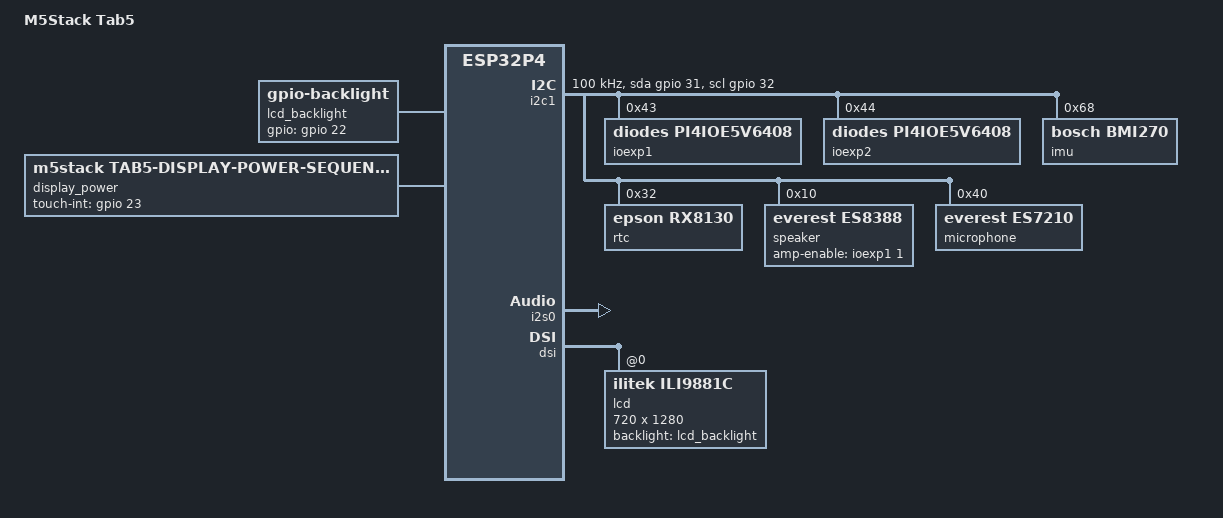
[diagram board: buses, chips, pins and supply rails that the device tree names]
/*
 * M5Stack Tab5 (ESP32-P4 rev v1.0, 5" 720x1280 MIPI-DSI LCD).
 * Sources: https://docs.m5stack.com/en/core/Tab5 ,
 *          tab5-os doc/06-tab5-hardware.md and kernel/src/platform/esp32p4v1/tab5.rs
 *          (bring-up verified on this board), M5GFX (MIT).
 *
 * Panel lots: ILI9881C + GT911 touch (this unit). The ST7123 / ST7121 lots
 * (display and touch in one chip at 0x55) are not supported yet; the power
 * sequence reports them as InitError::UnsupportedPanel.
 */
/dts-v1/;

#include <soc/espressif/esp32p4v1.dtsi>
#include <kumiki/gpio.h>

/ {
	model = "M5Stack Tab5";
	compatible = "m5stack,tab5", "espressif,esp32p4";

	chosen {
		kumiki,display = &lcd;
		kumiki,touch = &touch_gt911_14, &touch_gt911_5d;
		kumiki,imu = &imu;
		kumiki,rtc = &rtc;
		kumiki,speaker = &speaker;
		kumiki,microphone = &microphone;
	};

	lcd_backlight: backlight {
		compatible = "gpio-backlight";
		gpios = <&gpio 22 GPIO_ACTIVE_HIGH>;
		default-on;
	};

	/* No front buttons: a touch acts as button A. */
	buttons {
		compatible = "kumiki,touch-keys";
		touch = <&touch_gt911_14>;
	};

	/* Glue: the IO-expander sequence that releases the LCD and touch resets,
	 * tells the panel lot by its touch controller and synchronises the
	 * GT911's INT line (port of tab5-os tab5.rs::init). */
	display_power: display-power-sequence {
		compatible = "m5stack,tab5-display-power-sequence";
		io-expander = <&ioexp1>;
		touch-int-gpios = <&gpio 23 GPIO_ACTIVE_HIGH>;
	};

	kumiki,detect {
		compatible = "kumiki,board-detect";
		ioexp-ack {
			compatible = "kumiki,probe-i2c-ack";
			device = <&ioexp1>;
			register = <0x01>;
		};
	};
};

&i2c1 {
	status = "okay";
	clock-frequency = <100000>;
	sda-gpios = <&gpio 31 GPIO_ACTIVE_HIGH>;
	scl-gpios = <&gpio 32 GPIO_ACTIVE_HIGH>;

	/* Expander #1: EXT5V_EN, CAM_RST, LCD_RST (bit 4), TP_RST (bit 5), SPK_EN, HP_DET. */
	ioexp1: gpio@43 {
		compatible = "diodes,pi4ioe5v6408";
		reg = <0x43>;
		gpio-controller;
		#gpio-cells = <2>;
	};

	/* Expander #2: bit 4 cuts the board's power. Never written. */
	ioexp2: gpio@44 {
		compatible = "diodes,pi4ioe5v6408";
		reg = <0x44>;
		gpio-controller;
		#gpio-cells = <2>;
	};

	/* The GT911's address follows INT at reset: second-source candidates. */
	touch_gt911_14: touchscreen@14 {
		compatible = "goodix,gt911";
		reg = <0x14>;
		status = "fail-needs-probe";
		kumiki,probe-group = "touch";
		kumiki,depends-on = <&display_power>;
	};

	touch_gt911_5d: touchscreen@5d {
		compatible = "goodix,gt911";
		reg = <0x5d>;
		status = "fail-needs-probe";
		kumiki,probe-group = "touch";
		kumiki,depends-on = <&display_power>;
	};

	imu: imu@68 {
		compatible = "bosch,bmi270";
		reg = <0x68>;
	};

	rtc: rtc@32 {
		compatible = "epson,rx8130";
		reg = <0x32>;
	};

	/* Speaker: ES8388 DAC → NS4150B amplifier, enabled by expander #1 line 1
	 * (SPK_EN). After the display power sequence, which rewrites that
	 * expander's output register. */
	speaker: codec@10 {
		compatible = "everest,es8388";
		reg = <0x10>;
		i2s = <&i2s0>;
		amp-enable-gpios = <&ioexp1 1 GPIO_ACTIVE_HIGH>;
		kumiki,depends-on = <&display_power>;
	};

	/* Microphones through the ES7210 ADC. */
	microphone: adc@40 {
		compatible = "everest,es7210";
		reg = <0x40>;
		i2s = <&i2s0>;
	};
};

/* DAC out and ADC in share I2S0 and its clocks (full duplex). */
&i2s0 {
	status = "okay";
	mclk-gpios = <&gpio 30 GPIO_ACTIVE_HIGH>;
	bclk-gpios = <&gpio 27 GPIO_ACTIVE_HIGH>;
	ws-gpios = <&gpio 29 GPIO_ACTIVE_HIGH>;
	dout-gpios = <&gpio 26 GPIO_ACTIVE_HIGH>;
	din-gpios = <&gpio 28 GPIO_ACTIVE_HIGH>;
	kumiki,sample-rate = <48000>;
};

&dsi {
	status = "okay";

	lcd: panel@0 {
		compatible = "ilitek,ili9881c";
		reg = <0>;
		kumiki,depends-on = <&display_power>; /* resets come from the IO expander */
		backlight = <&lcd_backlight>;
		width = <720>;
		height = <1280>;
		/* Native portrait; the Tab5 is used landscape with the panel's top
		 * edge (y = 0) on the right. */
		rotation = <270>;
		kumiki,frame-buffer = "psram";
	};
};
